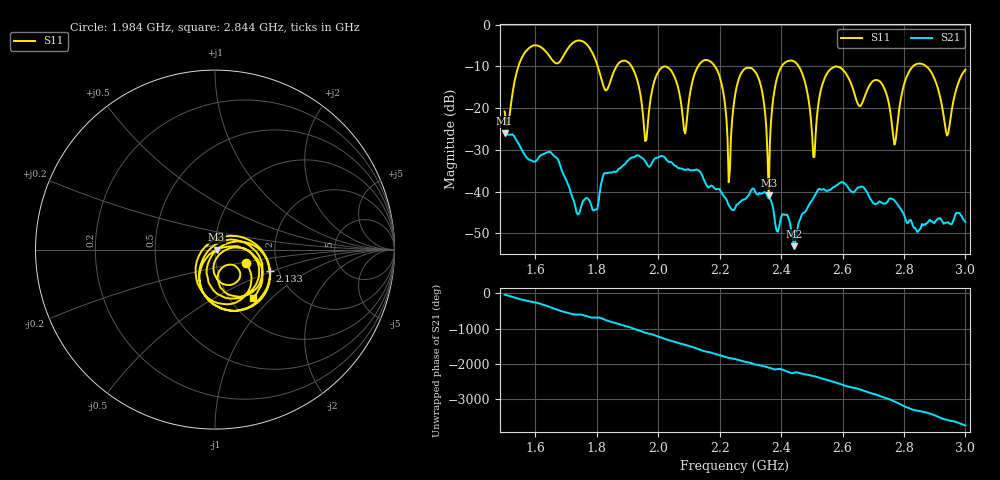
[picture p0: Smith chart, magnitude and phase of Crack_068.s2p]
# HZ S RI R 50
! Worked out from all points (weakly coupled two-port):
!   404 points, 1.5 GHz to 3 GHz, reference 50 ohm
!   highest |S21| = -25.98 dB at 1.5 GHz (marker M1); lowest = -53.1 dB at 2.442 GHz (marker M2)
!   lowest |S11| = -40.8 dB at 2.36 GHz (marker M3), VSWR 1.02, Z = 50.9 - j0.115 ohm
!   |S11| at or under -10 dB: 2.185 GHz to 2.402 GHz (217.1 MHz wide, 9.47 % of centre); 2.579 GHz to 2.829 GHz (249.3 MHz wide, 9.22 % of centre); 2.873 GHz to end of sweep (the widest 3 of 8)
!   S12 and S22 are empty: the file has one direction only
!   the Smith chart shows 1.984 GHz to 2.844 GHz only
!   S11 on the Smith chart (normalised r, x): 1.984 GHz: 1.40, -0.22; 2.133 GHz: 1.80, -0.49; 2.844 GHz: 1.27, -0.77
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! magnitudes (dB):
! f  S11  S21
! 1.5 GHz  -20.8  -26.0
! 1.574 GHz  -5.9  -32.1
! 1.753 GHz  -3.9  -42.7
! 1.909 GHz  -9.6  -32.0
! 1.958 GHz  -27.9  -32.8
! 1.984 GHz  -14.5  -32.6
! 2.002 GHz  -11.0  -31.7
! 2.088 GHz  -26.1  -34.8
! 2.133 GHz  -9.6  -35.0
! 2.196 GHz  -11.6  -39.3
! 2.23 GHz  -37.8  -43.3
! 2.252 GHz  -16.2  -43.7
! 2.319 GHz  -11.6  -40.5
! 2.36 GHz  -40.8  -41.6
! 2.39 GHz  -12.1  -49.6
! 2.442 GHz  -8.8  -53.1
! 2.501 GHz  -26.6  -42.0
! 2.572 GHz  -10.1  -38.9
! 2.751 GHz  -18.8  -41.8
! 2.844 GHz  -9.4  -49.7
! 2.94 GHz  -26.6  -47.4
! 3 GHz  -10.8  -47.3
